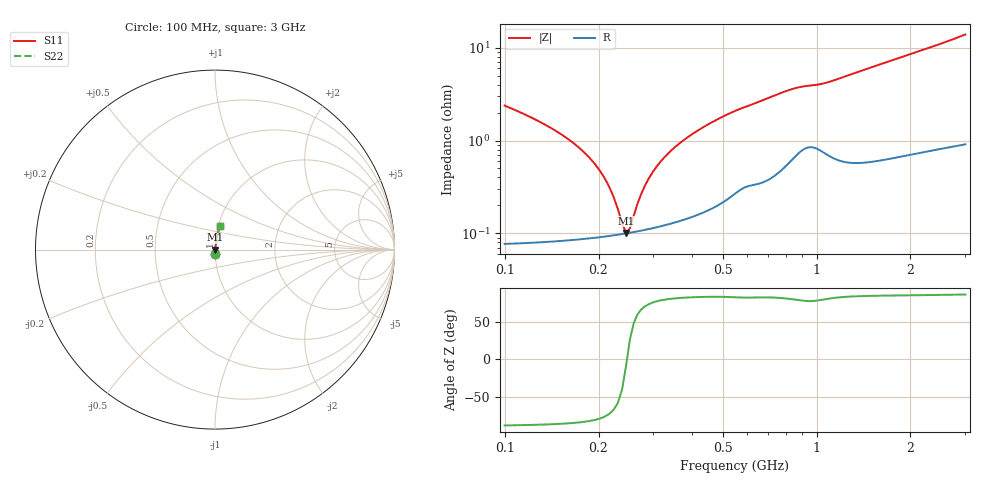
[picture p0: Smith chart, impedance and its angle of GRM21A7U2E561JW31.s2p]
!Murata Part Number: GRM21A7U2E561JW31
!These Parameters are Measured in Series Mode Connection
!Data Generated on Mar 30, 2021
!  o--ll--o
!Port1  Port2
!  o------o
!Operation Temp=25[degC], DC Bias Voltage=0[V]
!Freq. Start=100[MHz] Stop=3[GHz] 401[Steps]
# Hz S RI R 50
!Freq.(Hz) S11(Real) S11(Imag) S21(Real) S21(Imag) S12(Real) S12(Imag) S22(Real) S22(Imag)
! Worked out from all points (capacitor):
!   401 points, 100 MHz to 3 GHz, reference 50 ohm
!   read as one part in series: C = 560 pF near 114.5 MHz
!   lowest |Z| = 101 mohm at 245 MHz (marker M1)
!   series resonance near 246.7 MHz, so ESL is about 740 pH
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1e8  0.00133 -0.0237  0.9987 0.0237  0.9987 0.0237  0.00133 -0.0237
1.145e8  0.00116 -0.0194  0.9988 0.0194  0.9988 0.0194  0.00116 -0.0194
1.435e8  0.000988 -0.0131  0.999 0.0131  0.999 0.0131  0.000988 -0.0131
1.87e8  0.000924 -0.00646  0.9991 0.00646  0.9991 0.00646  0.000924 -0.00646
2.0875e8  0.000937 -0.00387  0.9991 0.00387  0.9991 0.00387  0.000937 -0.00387
2.3775e8  0.000982 -0.000854  0.999 0.000854  0.999 0.000854  0.000982 -0.000854
2.45e8  0.000998 -0.000162  0.999 0.000162  0.999 0.000162  0.000998 -0.000162
2.5225e8  0.00101 0.00051  0.999 -0.00051  0.999 -0.00051  0.00101 0.00051
2.595e8  0.00103 0.00116  0.999 -0.00116  0.999 -0.00116  0.00103 0.00116
2.8125e8  0.0011 0.00303  0.9989 -0.00303  0.9989 -0.00303  0.0011 0.00303
3.03e8  0.00117 0.00477  0.9988 -0.00477  0.9988 -0.00477  0.00117 0.00477
3.2475e8  0.00126 0.00642  0.9987 -0.00642  0.9987 -0.00642  0.00126 0.00642
3.5375e8  0.00139 0.00851  0.9986 -0.00851  0.9986 -0.00851  0.00139 0.00851
3.9725e8  0.00162 0.0114  0.9984 -0.0114  0.9984 -0.0114  0.00162 0.0114
4.48e8  0.00197 0.0147  0.998 -0.0147  0.998 -0.0147  0.00197 0.0147
5.8575e8  0.00359 0.0224  0.9964 -0.0224  0.9964 -0.0224  0.00359 0.0224
8.3225e8  0.00732 0.0347  0.9927 -0.0347  0.9927 -0.0347  0.00732 0.0347
1.0715e9  0.00876 0.0405  0.9912 -0.0405  0.9912 -0.0405  0.00876 0.0405
1.55e9  0.00988 0.0625  0.9901 -0.0625  0.9901 -0.0625  0.00988 0.0625
2.03575e9  0.0143 0.0845  0.9857 -0.0845  0.9857 -0.0845  0.0143 0.0845
2.5215e9  0.02 0.1079  0.98 -0.1079  0.98 -0.1079  0.02 0.1079
3e9  0.0273 0.1333  0.9727 -0.1333  0.9727 -0.1333  0.0273 0.1333
